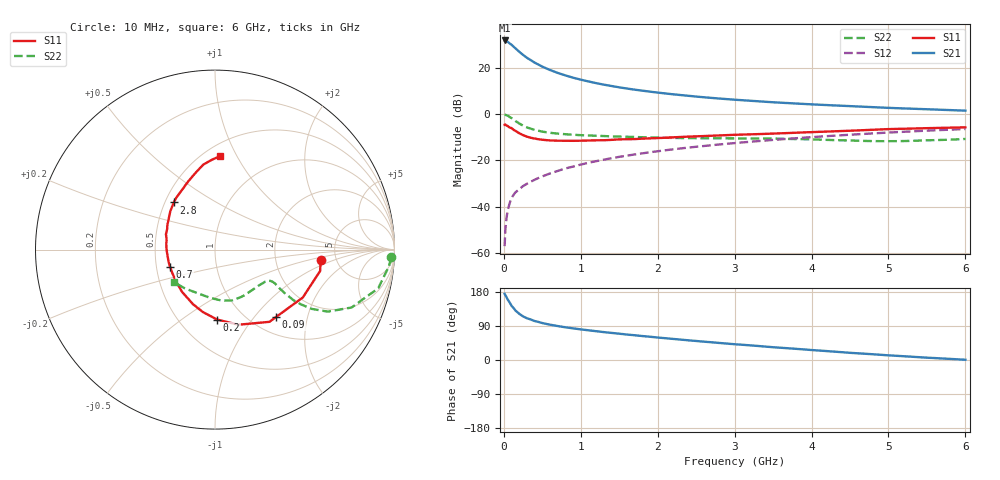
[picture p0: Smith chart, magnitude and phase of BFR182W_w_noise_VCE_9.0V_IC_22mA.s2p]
! Infineon Technologies  Discrete & RF Semiconductors
! BFR182W
! VCE =  9.0 V,  IC =  22 mA
! Common Emitter S-Parameters:  Jan 2017
# GHz  S  MA  R  50
!  f  S11  S21  S12  S22
! GHz  MAG  ANG  MAG  ANG  MAG  ANG  MAG  ANG
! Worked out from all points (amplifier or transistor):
!   77 points, 10 MHz to 6 GHz, reference 50 ohm
!   highest |S21| = 32.0 dB at 10 MHz (marker M1)
!   |S21| within 3 dB of that: start of sweep to 137.1 MHz
!   unconditionally stable (mu >= 1): 829.6 MHz to 2.337 GHz
!   at 130 MHz: K = 0.43, MSG = 31.9 dB, |S12| = -34.7 dB
!   at 2.2 GHz: K = 1.01, MAG = 11.3 dB, |S12| = -15.2 dB
!   at 6 GHz: K = 0.86, MSG = 4.0 dB, |S12| = -6.4 dB
!   lowest NFmin = 1.47 dB at 450 MHz
!   S11 on the Smith chart (normalised r, x): 10 MHz: 3.77, -0.66; 90 MHz: 1.29, -1.30; 200 MHz: 0.75, -0.69; 700 MHz: 0.59, -0.12; 2.8 GHz: 0.56, +0.33; 6 GHz: 0.60, +0.86
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0.01  0.5915 -5.5  39.59 174.7  0.0014 89.2  0.9834 -2.5
0.02  0.5977 -11.5  39.44 171.1  0.0032 91.0  0.9735 -5.5
0.05  0.5573 -28.6  37.09 159.5  0.0082 81.7  0.9348 -13.3
0.09  0.5067 -47.8  32.8 146.7  0.0139 72.3  0.846 -20.9
0.1  0.5039 -53.0  32.03 143.0  0.0154 71.0  0.8264 -23.0
0.15  0.4384 -72.7  26.8 130.8  0.0204 67.1  0.7173 -28.8
0.2  0.3898 -88.3  22.55 121.9  0.0239 66.4  0.6322 -31.5
0.25  0.3542 -101.1  19.29 115.1  0.028 64.3  0.5689 -32.5
0.3  0.3281 -111.9  16.68 110.2  0.0313 65.6  0.5196 -32.8
0.4  0.2988 -127.8  13.12 102.8  0.0383 66.7  0.4588 -32.0
0.5  0.2809 -140.5  10.73 97.5  0.0453 68.5  0.4212 -31.0
0.6  0.2717 -150.6  9.093 93.2  0.0524 69.1  0.3977 -30.0
0.7  0.2683 -158.9  7.863 89.6  0.0594 70.3  0.3818 -29.4
0.9  0.2664 -171.9  6.192 83.5  0.0738 71.2  0.3611 -29.3
1.1  0.2706 178.4  5.134 78.4  0.0893 71.3  0.3484 -30.0
1.5  0.2865 162.6  3.83 69.4  0.1199 70.5  0.3292 -33.5
2.1  0.311 145.8  2.825 57.5  0.1665 67.2  0.3105 -43.1
2.8  0.3486 131.1  2.191 45.0  0.2222 62.5  0.3025 -57.7
3.1  0.3637 125.2  2.016 40.2  0.2461 60.1  0.2999 -63.8
4.1  0.4168 109.3  1.611 24.9  0.3283 51.8  0.2831 -84.4
5.1  0.4822 96.6  1.358 11.1  0.4101 42.4  0.2622 -114.4
6  0.5221 86.9  1.198 0.6  0.4805 33.4  0.2924 -141.8
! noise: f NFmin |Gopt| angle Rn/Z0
0.45  1.47  0.13  -172  0.15
0.9  1.55  0.14  -167  0.15
1.9  2.06  0.29  -141  0.17
2.4  2.34  0.31  -127  0.27
